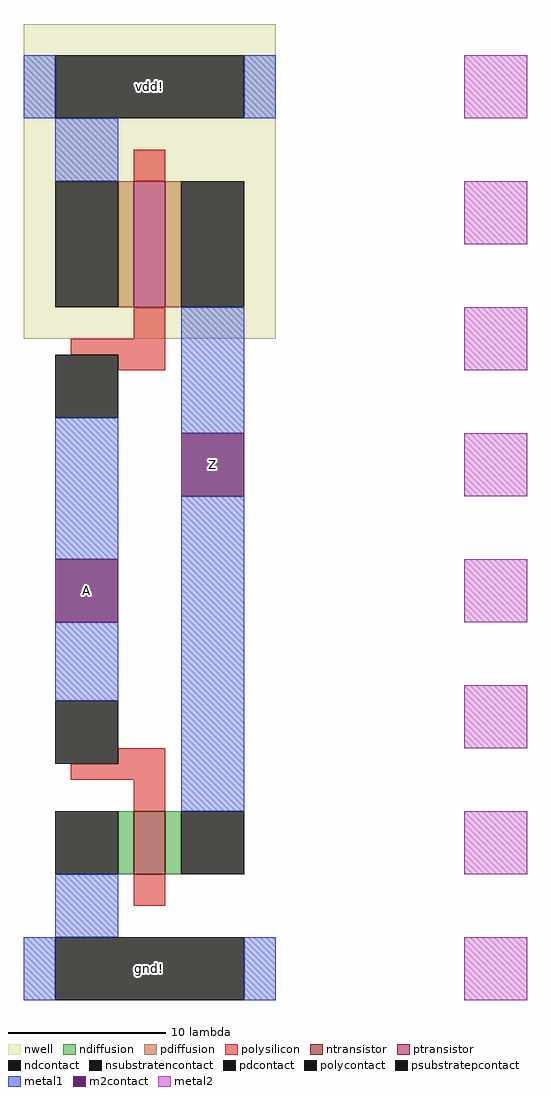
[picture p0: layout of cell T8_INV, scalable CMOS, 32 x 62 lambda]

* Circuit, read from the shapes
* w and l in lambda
.subckt T8_INV A Z gnd! vdd!
M1 Z A gnd! gnd! nfet w=4 l=2
M2 Z A vdd! vdd! pfet w=8 l=2
.ends

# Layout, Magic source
magic
tech scmos
<< nwell >>
rect 0 44 16 64
<< polysilicon >>
rect 7 54 9 56
rect 7 44 9 46
rect 3 43 9 44
rect 6 42 9 43
rect 6 17 9 18
rect 3 16 9 17
rect 7 14 9 16
rect 7 8 9 10
<< ndiffusion >>
rect 6 10 7 14
rect 9 10 10 14
<< pdiffusion >>
rect 6 46 7 54
rect 9 46 10 54
<< metal1 >>
rect 0 58 2 62
rect 14 58 16 62
rect 2 54 6 58
rect 2 30 6 39
rect 2 21 6 26
rect 10 38 14 46
rect 10 14 14 34
rect 2 6 6 10
rect 0 2 2 6
rect 14 2 16 6
<< metal2 >>
rect 28 58 32 62
rect 28 50 32 54
rect 28 42 32 46
rect 28 34 32 38
rect 28 26 32 30
rect 28 18 32 22
rect 28 10 32 14
rect 28 2 32 6
<< ntransistor >>
rect 7 10 9 14
<< ptransistor >>
rect 7 46 9 54
<< polycontact >>
rect 2 39 6 43
rect 2 17 6 21
<< ndcontact >>
rect 2 10 6 14
rect 10 10 14 14
<< pdcontact >>
rect 2 46 6 54
rect 10 46 14 54
<< m2contact >>
rect 2 26 6 30
rect 10 34 14 38
<< psubstratepcontact >>
rect 2 2 14 6
<< nsubstratencontact >>
rect 2 58 14 62
<< labels >>
rlabel psubstratepcontact 2 2 14 6 1 gnd!
rlabel m2contact 2 26 6 30 3 A
rlabel m2contact 10 34 14 38 1 Z
rlabel nsubstratencontact 2 58 14 62 5 vdd!
<< end >>
